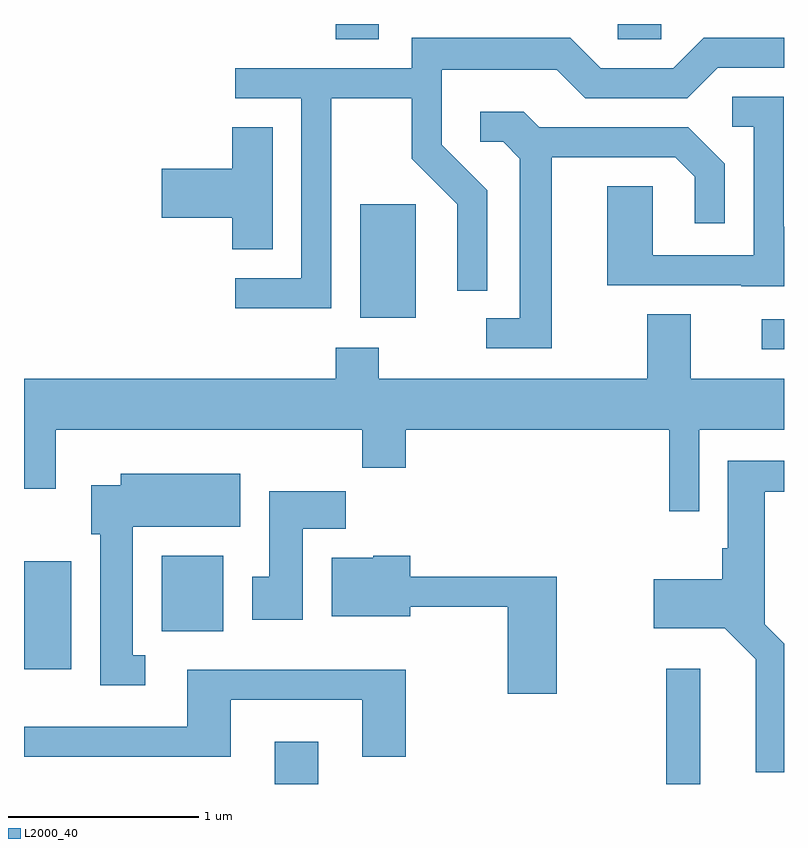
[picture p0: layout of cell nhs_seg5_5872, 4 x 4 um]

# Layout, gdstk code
import gdstk
lib = gdstk.Library(unit=1e-6, precision=1e-09)
def R(c, l, rs):  # rectangles x0, y0, x1, y1
    for r in rs: c.add(gdstk.rectangle(r[:2], r[2:], *l))
def P(c, l, *ps):  # polygons
    for p in ps: c.add(gdstk.Polygon(p, *l))
L2000_40 = (2000, 40)

nhs_seg5_5872 = lib.new_cell('nhs_seg5_5872')
R(nhs_seg5_5872, L2000_40, [(360.931,1426.072,361.159,1426.294), (362.991,1426.072,363.169,1426.679), (359.611,1426.676,359.859,1427.244), (360.336,1426.876,360.659,1427.274), (363.493,1428.361,363.611,1428.519), (361.381,1428.526,361.674,1429.124), (361.251,1429.991,361.479,1430.072), (362.736,1429.991,362.964,1430.072)])
P(nhs_seg5_5872, L2000_40, [(361.229,1429.681),(361.651,1429.681),(361.651,1429.364),(361.891,1429.124),(361.891,1428.668),(362.049,1428.668),(362.049,1429.197),(361.809,1429.437),(361.809,1429.831),(362.414,1429.831),(362.564,1429.681),(363.102,1429.681),(363.262,1429.841),(363.611,1429.841),(363.611,1429.999),(363.189,1429.999),(363.029,1429.839),(362.647,1429.839),(362.487,1429.999),(361.651,1429.999),(361.651,1429.839),(360.723,1429.839),(360.723,1429.681),(361.071,1429.681),(361.071,1428.734),(360.723,1428.734),(360.723,1428.576),(361.229,1428.576)],
  [(363.611,1429.004),(363.609,1429.004),(363.609,1429.689),(363.338,1429.689),(363.338,1429.531),(363.451,1429.531),(363.451,1428.854),(362.919,1428.854),(362.919,1429.219),(362.681,1429.219),(362.681,1428.696),(363.385,1428.696),(363.385,1428.691),(363.611,1428.691)],
  [(362.389,1429.371),(363.039,1429.371),(363.141,1429.269),(363.141,1429.023),(363.299,1429.023),(363.299,1429.337),(363.107,1429.529),(362.322,1429.529),(362.242,1429.609),(362.013,1429.609),(362.013,1429.451),(362.134,1429.451),(362.221,1429.364),(362.221,1428.524),(362.043,1428.524),(362.043,1428.366),(362.389,1428.366)],
  [(360.919,1429.529),(360.706,1429.529),(360.706,1429.309),(360.336,1429.309),(360.336,1429.051),(360.706,1429.051),(360.706,1428.886),(360.919,1428.886)],
  [(363.164,1427.936),(363.611,1427.936),(363.611,1428.204),(363.119,1428.204),(363.119,1428.544),(362.891,1428.544),(362.891,1428.204),(361.479,1428.204),(361.479,1428.369),(361.251,1428.369),(361.251,1428.204),(359.611,1428.204),(359.611,1427.626),(359.779,1427.626),(359.779,1427.936),(361.391,1427.936),(361.391,1427.736),(361.619,1427.736),(361.619,1427.936),(363.006,1427.936),(363.006,1427.508),(363.164,1427.508)],
  [(363.611,1426.81),(363.509,1426.912),(363.509,1427.611),(363.611,1427.611),(363.611,1427.774),(363.316,1427.774),(363.316,1427.314),(363.286,1427.314),(363.286,1427.149),(362.926,1427.149),(362.926,1426.891),(363.299,1426.891),(363.461,1426.729),(363.461,1426.133),(363.611,1426.133)],
  [(360.248,1426.749),(360.184,1426.749),(360.184,1427.426),(360.749,1427.426),(360.749,1427.704),(360.121,1427.704),(360.121,1427.644),(359.966,1427.644),(359.966,1427.386),(360.011,1427.386),(360.011,1426.591),(360.248,1426.591)],
  [(361.079,1427.416),(361.304,1427.416),(361.304,1427.614),(360.901,1427.614),(360.901,1427.164),(360.811,1427.164),(360.811,1426.936),(361.079,1426.936)],
  [(362.414,1427.164),(361.644,1427.164),(361.644,1427.274),(361.45,1427.274),(361.45,1427.264),(361.231,1427.264),(361.231,1426.956),(361.644,1426.956),(361.644,1427.006),(362.156,1427.006),(362.156,1426.546),(362.414,1426.546)],
  [(360.699,1426.516),(361.391,1426.516),(361.391,1426.216),(361.619,1426.216),(361.619,1426.674),(360.471,1426.674),(360.471,1426.374),(359.611,1426.374),(359.611,1426.216),(360.699,1426.216)])

lib.write_gds('nhs_seg5_5872.gds')
